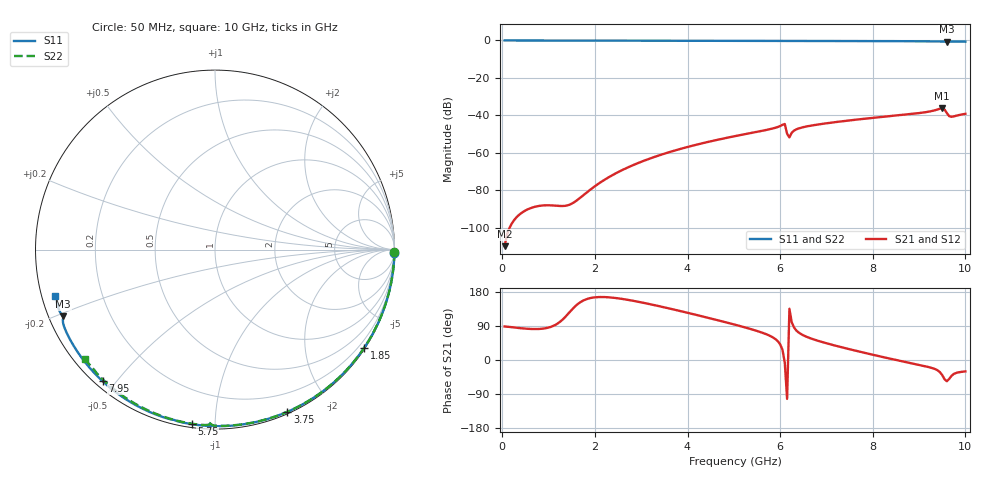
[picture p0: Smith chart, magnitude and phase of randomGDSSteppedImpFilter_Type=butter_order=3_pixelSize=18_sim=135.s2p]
! freq	dB(S11)	phase(S11)	dB(S12)	phase(S12)
!  dB(S21)	phase(S21)	dB(S22)	phase(S22)
!S-par simulation data
#  GHz  S  DB  R 50
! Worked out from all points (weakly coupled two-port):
!   200 points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, 50 MHz to 10 GHz, reference 50 ohm
!   highest |S21| = -36.15 dB at 9.5 GHz (marker M1); lowest = -109.7 dB at 50 MHz (marker M2)
!   lowest |S11| = -0.7 dB at 9.6 GHz (marker M3), VSWR 25.36, Z = 2.06 - j10.5 ohm
!   |S11| at or under -10 dB: nowhere
!   |S22| runs from -0.5 to 0.0 dB; largest |S21 - S12| = 0
!   S11 on the Smith chart (normalised r, x): 50 MHz: open; 1.85 GHz: 0.03, -3.33; 3.75 GHz: 0.02, -1.54; 5.75 GHz: 0.02, -0.87; 7.95 GHz: 0.02, -0.46; 10 GHz: 0.04, -0.14
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0.05  -0.00 -0.9  -109.70 88.5  -109.70 88.5  -0.00 -0.8
1.75  -0.04 -31.7  -82.54 157.0  -82.54 157.0  -0.04 -27.9
1.85  -0.04 -33.5  -80.54 161.8  -80.54 161.8  -0.04 -29.5
2.55  -0.06 -45.7  -69.60 161.9  -69.60 161.9  -0.05 -40.3
3.4  -0.08 -60.1  -61.16 141.7  -61.16 141.7  -0.07 -53.1
3.75  -0.09 -66.0  -58.51 131.9  -58.51 131.9  -0.08 -58.3
5.05  -0.13 -86.8  -50.89 92.4  -50.89 92.4  -0.12 -76.8
5.75  -0.16 -97.6  -47.46 65.4  -47.46 65.4  -0.15 -86.4
6.1  -0.20 -103.0  -44.54 -7.2  -44.54 -7.2  -0.28 -91.7
6.15  -0.21 -103.7  -49.76 -102.7  -49.76 -102.7  -0.35 -91.3
6.2  -0.20 -104.4  -51.69 135.2  -51.69 135.2  -0.24 -91.7
6.25  -0.20 -105.1  -49.22 99.5  -49.22 99.5  -0.20 -92.5
6.35  -0.20 -106.7  -47.39 77.8  -47.39 77.8  -0.18 -94.0
6.7  -0.22 -111.9  -45.28 55.3  -45.28 55.3  -0.19 -98.7
7.95  -0.32 -130.5  -41.41 15.3  -41.41 15.3  -0.27 -114.6
8.35  -0.35 -136.5  -40.40 4.2  -40.40 4.2  -0.31 -119.6
9.1  -0.44 -148.2  -38.40 -15.6  -38.40 -15.6  -0.37 -128.8
9.5  -0.60 -155.3  -36.15 -39.9  -36.15 -39.9  -0.42 -133.8
9.55  -0.67 -155.9  -36.78 -50.8  -36.78 -50.8  -0.43 -134.4
9.6  -0.69 -156.2  -38.75 -56.1  -38.75 -56.1  -0.45 -135.0
9.7  -0.63 -157.7  -40.71 -41.8  -40.71 -41.8  -0.45 -136.1
10  -0.66 -163.8  -39.12 -30.0  -39.12 -30.0  -0.48 -139.8
